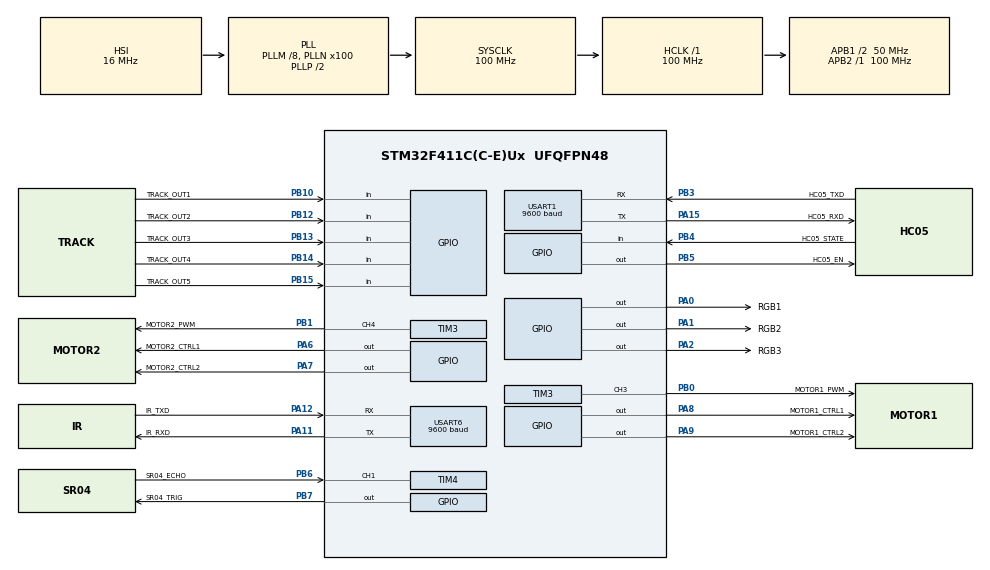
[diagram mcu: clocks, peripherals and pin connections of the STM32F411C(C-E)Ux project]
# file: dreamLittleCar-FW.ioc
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Mcu.Family=STM32F4
Mcu.Name=STM32F411C(C-E)Ux
Mcu.Package=UFQFPN48
NVIC.PriorityGroup=NVIC_PRIORITYGROUP_4
NVIC.TIM4_IRQn=true\:0\:0\:false\:false\:true\:true\:true
NVIC.USART1_IRQn=true\:0\:0\:false\:false\:true\:true\:true
PA0-WKUP.GPIO_Label=RGB1
PA0-WKUP.PinState=GPIO_PIN_SET
PA0-WKUP.Signal=GPIO_Output
PA1.GPIO_Label=RGB2
PA1.PinState=GPIO_PIN_SET
PA1.Signal=GPIO_Output
PA11.GPIO_Label=IR_RXD
PA11.Mode=Asynchronous
PA11.Signal=USART6_TX
PA12.GPIO_Label=IR_TXD
PA12.Mode=Asynchronous
PA12.Signal=USART6_RX
PA13.Mode=Serial_Wire
PA13.Signal=SYS_JTMS-SWDIO
PA14.Mode=Serial_Wire
PA14.Signal=SYS_JTCK-SWCLK
PA15.GPIO_Label=HC05_RXD
PA15.Mode=Asynchronous
PA15.Signal=USART1_TX
PA2.GPIO_Label=RGB3
PA2.PinState=GPIO_PIN_SET
PA2.Signal=GPIO_Output
PA6.GPIO_Label=MOTOR2_CTRL1
PA6.Signal=GPIO_Output
PA7.GPIO_Label=MOTOR2_CTRL2
PA7.Signal=GPIO_Output
PA8.GPIO_Label=MOTOR1_CTRL1
PA8.Signal=GPIO_Output
PA9.GPIO_Label=MOTOR1_CTRL2
PA9.Signal=GPIO_Output
PB0.GPIO_Label=MOTOR1_PWM
PB0.Signal=S_TIM3_CH3
PB1.GPIO_Label=MOTOR2_PWM
PB1.Signal=S_TIM3_CH4
PB10.GPIO_Label=TRACK_OUT1
PB10.Signal=GPIO_Input
PB12.GPIO_Label=TRACK_OUT2
PB12.Signal=GPIO_Input
PB13.GPIO_Label=TRACK_OUT3
PB13.Signal=GPIO_Input
PB14.GPIO_Label=TRACK_OUT4
PB14.Signal=GPIO_Input
PB15.GPIO_Label=TRACK_OUT5
PB15.Signal=GPIO_Input
PB3.GPIO_Label=HC05_TXD
PB3.Mode=Asynchronous
PB3.Signal=USART1_RX
PB4.GPIO_Label=HC05_STATE
PB4.Signal=GPIO_Input
PB5.GPIO_Label=HC05_EN
PB5.Signal=GPIO_Output
PB6.GPIO_Label=SR04_ECHO
PB6.Signal=S_TIM4_CH1
PB7.GPIO_Label=SR04_TRIG
PB7.Signal=GPIO_Output
PC14-OSC32_IN.Mode=LSE-External-Oscillator
PC14-OSC32_IN.Signal=RCC_OSC32_IN
PC15-OSC32_OUT.Mode=LSE-External-Oscillator
PC15-OSC32_OUT.Signal=RCC_OSC32_OUT
PH0\ -\ OSC_IN.Mode=HSE-External-Oscillator
PH0\ -\ OSC_IN.Signal=RCC_OSC_IN
PH1\ -\ OSC_OUT.Mode=HSE-External-Oscillator
PH1\ -\ OSC_OUT.Signal=RCC_OSC_OUT
ProjectManager.HeapSize=0x200
ProjectManager.StackSize=0x400
ProjectManager.TargetToolchain=SW4STM32
RCC.48MHZClocksFreq_Value=50000000
RCC.AHBFreq_Value=100000000
RCC.APB1CLKDivider=RCC_HCLK_DIV2
RCC.APB1Freq_Value=50000000
RCC.APB1TimFreq_Value=100000000
RCC.APB2Freq_Value=100000000
RCC.APB2TimFreq_Value=100000000
RCC.CortexFreq_Value=100000000
RCC.HCLKFreq_Value=100000000
RCC.HSE_VALUE=12000000
RCC.HSI_VALUE=16000000
RCC.PLLM=8
RCC.PLLN=100
RCC.SYSCLKFreq_VALUE=100000000
RCC.SYSCLKSource=RCC_SYSCLKSOURCE_PLLCLK
RCC.VCOOutputFreq_Value=200000000
SH.S_TIM3_CH3.0=TIM3_CH3,PWM Generation3 CH3
SH.S_TIM3_CH4.0=TIM3_CH4,PWM Generation4 CH4
SH.S_TIM4_CH1.0=TIM4_CH1,Input_Capture1_from_TI1
TIM3.AutoReloadPreload=TIM_AUTORELOAD_PRELOAD_ENABLE
TIM3.Channel-PWM\ Generation3\ CH3=TIM_CHANNEL_3
TIM3.Channel-PWM\ Generation4\ CH4=TIM_CHANNEL_4
TIM3.OCFastMode_PWM-PWM\ Generation3\ CH3=TIM_OCFAST_DISABLE
TIM3.Period=499
TIM3.Prescaler=99
TIM4.AutoReloadPreload=TIM_AUTORELOAD_PRELOAD_ENABLE
TIM4.Channel-Input_Capture1_from_TI1=TIM_CHANNEL_1
TIM4.Prescaler=71
USART1.BaudRate=9600
USART1.VirtualMode=VM_ASYNC
USART6.BaudRate=9600
USART6.VirtualMode=VM_ASYNC
VP_TIM3_VS_ClockSourceINT.Mode=Internal
board=custom

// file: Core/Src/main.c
/* USER CODE BEGIN Header */
/**
  ******************************************************************************
  * @file           : main.c
  * @brief          : Main program body
  ******************************************************************************
  * @attention
  *
  * Copyright (c) 2023 STMicroelectronics.
  * All rights reserved.
  *
  * This software is licensed under terms that can be found in the LICENSE file
  * in the root directory of this software component.
  * If no LICENSE file comes with this software, it is provided AS-IS.
  *
  ******************************************************************************
  */
/* USER CODE END Header */
#include <stdio.h>
#include "main.h"
#include "tim.h"
#include "usart.h"
#include "gpio.h"

/* USER CODE BEGIN PD */
#define TRACK1 HAL_GPIO_ReadPin(TRACK_OUT1_GPIO_Port, TRACK_OUT1_Pin)
#define TRACK2 HAL_GPIO_ReadPin(TRACK_OUT2_GPIO_Port, TRACK_OUT2_Pin)
#define TRACK3 HAL_GPIO_ReadPin(TRACK_OUT3_GPIO_Port, TRACK_OUT3_Pin)
#define TRACK4 HAL_GPIO_ReadPin(TRACK_OUT4_GPIO_Port, TRACK_OUT4_Pin)
#define TRACK5 HAL_GPIO_ReadPin(TRACK_OUT5_GPIO_Port, TRACK_OUT5_Pin)
/* USER CODE END PD */

/* USER CODE BEGIN PM */
uint8_t ifMsgGet = 0;
uint8_t msg = 0;
uint8_t speed = 0;
uint8_t tickFlag = 0;
uint16_t pwmVal = 1;   //PWMռ�ձ�

//float kp = 20;
//float ki = 0;
//float kd = 0;
/* USER CODE END PM */

void SystemClock_Config(void);
/* USER CODE BEGIN PFP */
void littleCarMove();
void goForward();
void goBack();
void turnLeft();
void turnRight();
void stopAll();

float pidOutput();
/* USER CODE END PFP */

int main(void)
{

  /* MCU Configuration--------------------------------------------------------*/

  /* Reset of all peripherals, Initializes the Flash interface and the Systick. */
  HAL_Init();

  /* Configure the system clock */
  SystemClock_Config();

  /* Initialize all configured peripherals */
  MX_GPIO_Init();
  MX_TIM4_Init();
  MX_USART1_UART_Init();
  MX_USART6_UART_Init();
  MX_TIM3_Init();
  /* USER CODE BEGIN 2 */
  pwmVal = 250;

  HAL_TIM_PWM_Start(&htim3,TIM_CHANNEL_3);
  HAL_TIM_PWM_Start(&htim3,TIM_CHANNEL_4);
  /* USER CODE END 2 */

  /* Infinite loop */
  /* USER CODE BEGIN WHILE */

  HAL_UART_Transmit(&huart1,"Ready!\r\n",sizeof("Ready!\r\n"),20);
  HAL_UART_Transmit(&huart1,"Waiting...\r\n", sizeof("Waiting...\r\n"),20);
  HAL_UART_Transmit(&huart1,"Motor Power:", sizeof("Motor Power:"),20);
  char powerMsg[10] = "";
  sprintf(powerMsg, "%.2f", 1000000.0 / pwmVal / 10000.0);
  HAL_UART_Transmit(&huart1, powerMsg, sizeof(powerMsg), 20);

  __HAL_TIM_SetCompare(&htim3, TIM_CHANNEL_3, pwmVal);    //�޸ıȽ�ֵ���޸�ռ�ձ�
  __HAL_TIM_SetCompare(&htim3, TIM_CHANNEL_4, pwmVal-30);    //�޸ıȽ�ֵ���޸�ռ�ձ�

  while (1)
  {
    /* USER CODE END WHILE */

    /* USER CODE BEGIN 3 */
    while ((msg != '1') && HAL_UART_Receive(&huart1,&msg,1,0) == HAL_OK);

    if (msg == '1')
    {
      ifMsgGet = 1;
      msg = 0;
    }
    if (ifMsgGet)
    {
      HAL_UART_Transmit(&huart1,"Get! Speed?(1-9)\r\n", sizeof("Get! Speed?(1-9)\r\n"),20);
      while ((msg != '1') && HAL_UART_Receive(&huart1, &speed, 1, 0) == HAL_OK);
      ifMsgGet = 0;
      //goForward();
      littleCarMove();
    }
  }
  /* USER CODE END 3 */
}

void SystemClock_Config(void)
{
  RCC_OscInitTypeDef RCC_OscInitStruct = {0};
  RCC_ClkInitTypeDef RCC_ClkInitStruct = {0};

  /** Configure the main internal regulator output voltage
  */
  __HAL_RCC_PWR_CLK_ENABLE();
  __HAL_PWR_VOLTAGESCALING_CONFIG(PWR_REGULATOR_VOLTAGE_SCALE1);
  /** Initializes the RCC Oscillators according to the specified parameters
  * in the RCC_OscInitTypeDef structure.
  */
  RCC_OscInitStruct.OscillatorType = RCC_OSCILLATORTYPE_HSI;
  RCC_OscInitStruct.HSIState = RCC_HSI_ON;
  RCC_OscInitStruct.HSICalibrationValue = RCC_HSICALIBRATION_DEFAULT;
  RCC_OscInitStruct.PLL.PLLState = RCC_PLL_ON;
  RCC_OscInitStruct.PLL.PLLSource = RCC_PLLSOURCE_HSI;
  RCC_OscInitStruct.PLL.PLLM = 8;
  RCC_OscInitStruct.PLL.PLLN = 100;
  RCC_OscInitStruct.PLL.PLLP = RCC_PLLP_DIV2;
  RCC_OscInitStruct.PLL.PLLQ = 4;
  if (HAL_RCC_OscConfig(&RCC_OscInitStruct) != HAL_OK)
  {
    Error_Handler();
  }
  /** Initializes the CPU, AHB and APB buses clocks
  */
  RCC_ClkInitStruct.ClockType = RCC_CLOCKTYPE_HCLK|RCC_CLOCKTYPE_SYSCLK
                              |RCC_CLOCKTYPE_PCLK1|RCC_CLOCKTYPE_PCLK2;
  RCC_ClkInitStruct.SYSCLKSource = RCC_SYSCLKSOURCE_PLLCLK;
  RCC_ClkInitStruct.AHBCLKDivider = RCC_SYSCLK_DIV1;
  RCC_ClkInitStruct.APB1CLKDivider = RCC_HCLK_DIV2;
  RCC_ClkInitStruct.APB2CLKDivider = RCC_HCLK_DIV1;

  if (HAL_RCC_ClockConfig(&RCC_ClkInitStruct, FLASH_LATENCY_3) != HAL_OK)
  {
    Error_Handler();
  }
}

/* USER CODE BEGIN 4 */
//float pidOutput()
//{
//  float err, errPre;
//  static float integral;
//  float output;
//
//  if (TRACK1 == 1 && TRACK2 == 1 && TRACK3 == 0 && TRACK4 == 1 && TRACK5 == 1) err = 0;
//
//  else if (TRACK1 == 1 && TRACK2 == 0 && TRACK3 == 1 && TRACK4 == 1 && TRACK5 == 1) err = -1;
//  else if (TRACK1 == 0 && TRACK2 == 0 && TRACK3 == 1 && TRACK4 == 1 && TRACK5 == 1) err = -2;
//  else if (TRACK1 == 0 && TRACK2 == 1 && TRACK3 == 1 && TRACK4 == 1 && TRACK5 == 1) err = -3;
//
//  else if (TRACK1 == 1 && TRACK2 == 1 && TRACK3 == 1 && TRACK4 == 0 && TRACK5 == 1) err = 1;
//  else if (TRACK1 == 1 && TRACK2 == 1 && TRACK3 == 1 && TRACK4 == 0 && TRACK5 == 0) err = 2;
//  else if (TRACK1 == 1 && TRACK2 == 1 && TRACK3 == 1 && TRACK4 == 1 && TRACK5 == 0) err = 3;
//
//  else err = 0;
//
//  integral += err;
//  output = kp * err + ki * integral + kd * (err - errPre);
//  errPre = err;
//  return output;
//}

void goForward()
{
  __HAL_TIM_SetCompare(&htim3, TIM_CHANNEL_3, pwmVal);    //�޸ıȽ�ֵ���޸�ռ�ձ�
  //__HAL_TIM_SetCompare(&htim3, TIM_CHANNEL_4, pwmVal);    //�޸ıȽ�ֵ���޸�ռ�ձ�
  __HAL_TIM_SetCompare(&htim3, TIM_CHANNEL_4, pwmVal+8);    //�޸ıȽ�ֵ���޸�ռ�ձ�
  HAL_GPIO_WritePin(MOTOR1_CTRL1_GPIO_Port, MOTOR1_CTRL1_Pin, 1);
  HAL_GPIO_WritePin(MOTOR1_CTRL2_GPIO_Port, MOTOR1_CTRL2_Pin, 0);
  HAL_GPIO_WritePin(MOTOR2_CTRL1_GPIO_Port, MOTOR2_CTRL1_Pin, 0);
  HAL_GPIO_WritePin(MOTOR2_CTRL2_GPIO_Port, MOTOR2_CTRL2_Pin, 1);
}

void stopAll()
{
  HAL_GPIO_WritePin(MOTOR1_CTRL1_GPIO_Port, MOTOR1_CTRL1_Pin, 1);
  HAL_GPIO_WritePin(MOTOR1_CTRL2_GPIO_Port, MOTOR1_CTRL2_Pin, 1);
  HAL_GPIO_WritePin(MOTOR2_CTRL1_GPIO_Port, MOTOR2_CTRL1_Pin, 1);
  HAL_GPIO_WritePin(MOTOR2_CTRL2_GPIO_Port, MOTOR2_CTRL2_Pin, 1);
}

void turnLeft()
{
  //���2��ת
  __HAL_TIM_SetCompare(&htim3, TIM_CHANNEL_3, pwmVal-40);    //�޸ıȽ�ֵ���޸�ռ�ձ�
  __HAL_TIM_SetCompare(&htim3, TIM_CHANNEL_4, pwmVal-5);    //�޸ıȽ�ֵ���޸�ռ�ձ�
  HAL_GPIO_WritePin(MOTOR1_CTRL1_GPIO_Port, MOTOR1_CTRL1_Pin, 1);
  HAL_GPIO_WritePin(MOTOR1_CTRL2_GPIO_Port, MOTOR1_CTRL2_Pin, 0);
  HAL_GPIO_WritePin(MOTOR2_CTRL1_GPIO_Port, MOTOR2_CTRL1_Pin, 1);
  HAL_GPIO_WritePin(MOTOR2_CTRL2_GPIO_Port, MOTOR2_CTRL2_Pin, 0);
}

void turnRight()
{
  //���1��ת
  __HAL_TIM_SetCompare(&htim3, TIM_CHANNEL_3, pwmVal-55);    //�޸ıȽ�ֵ���޸�ռ�ձ�
  HAL_GPIO_WritePin(MOTOR1_CTRL1_GPIO_Port, MOTOR1_CTRL1_Pin, 0);
  HAL_GPIO_WritePin(MOTOR1_CTRL2_GPIO_Port, MOTOR1_CTRL2_Pin, 1);
  HAL_GPIO_WritePin(MOTOR2_CTRL1_GPIO_Port, MOTOR2_CTRL1_Pin, 0);
  HAL_GPIO_WritePin(MOTOR2_CTRL2_GPIO_Port, MOTOR2_CTRL2_Pin, 1);
}

void littleCarMove()
{
  while(1)
  {
    HAL_UART_Receive(&huart1,&msg,1,10);

    if (msg == '3') //emergency stop
    {
      msg = 0;
      HAL_UART_Transmit(&huart1,"Stop!!!\r\n", sizeof("Stop!!!\r\n"),8);
      stopAll();
      return;
    }

    if (TRACK1 == 1 && TRACK2 == 1 && TRACK3 == 0 && TRACK4 == 1 && TRACK5 == 1) goForward();

    else if (TRACK1 == 1 && TRACK2 == 0 && TRACK3 == 1 && TRACK4 == 1 && TRACK5 == 1) turnLeft();
    else if (TRACK1 == 0 && TRACK2 == 1 && TRACK3 == 1 && TRACK4 == 1 && TRACK5 == 1) turnLeft();
    else if (TRACK1 == 0 && TRACK2 == 0 && TRACK3 == 1 && TRACK4 == 1 && TRACK5 == 1) turnLeft();

    else if (TRACK1 == 1 && TRACK2 == 1 && TRACK3 == 1 && TRACK4 == 0 && TRACK5 == 1) turnRight();
    else if (TRACK1 == 1 && TRACK2 == 1 && TRACK3 == 1 && TRACK4 == 1 && TRACK5 == 0) turnRight();
    else if (TRACK1 == 1 && TRACK2 == 1 && TRACK3 == 1 && TRACK4 == 1 && TRACK5 == 1) turnRight();

//    float tempFlag = pidOutput();
//    __HAL_TIM_SetCompare(&htim3, TIM_CHANNEL_3, pwmVal + tempFlag);
//    __HAL_TIM_SetCompare(&htim3, TIM_CHANNEL_4, pwmVal + tempFlag);
//    if (tempFlag < 15 && tempFlag > -15) goForward();
//    else if (tempFlag >= 15) turnLeft();
//    else if (tempFlag <= -15) turnRight();

    if (tickFlag == 1)
    {
      HAL_UART_Transmit(&huart1,"Running...\r\n", sizeof("Running...\r\n"),8);
      tickFlag = 0;
    }
  }
}
/* USER CODE END 4 */

void Error_Handler(void)
{
  __disable_irq();
  while (1)
  {
  }
}
